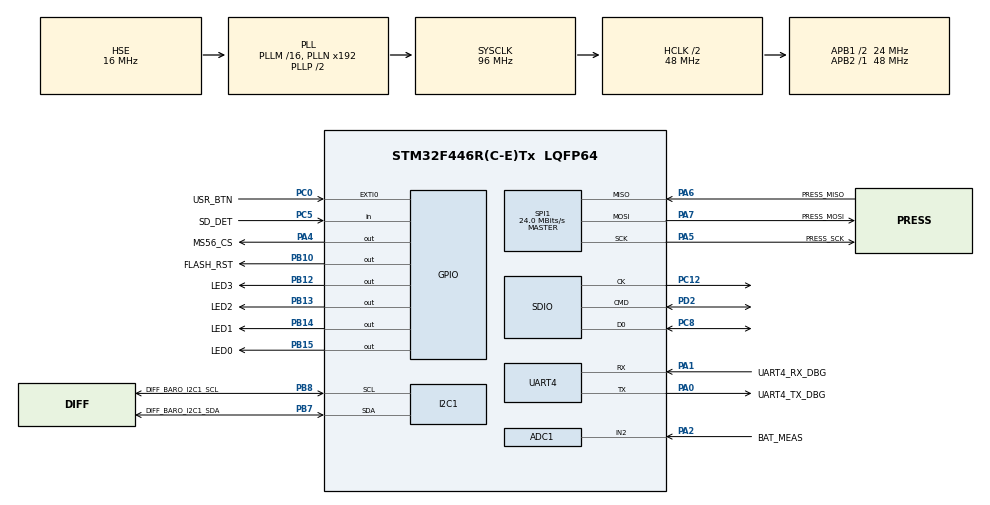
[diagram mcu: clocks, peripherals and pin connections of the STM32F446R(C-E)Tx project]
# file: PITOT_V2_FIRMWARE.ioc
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ADC1.Channel-0\#ChannelRegularConversion=ADC_CHANNEL_2
ADC1.ClockPrescaler=ADC_CLOCK_SYNC_PCLK_DIV4
ADC1.ContinuousConvMode=DISABLE
ADC1.DMAContinuousRequests=DISABLE
ADC1.NbrOfConversionFlag=1
ADC1.Rank-0\#ChannelRegularConversion=1
ADC1.Resolution=ADC_RESOLUTION_12B
ADC1.SamplingTime-0\#ChannelRegularConversion=ADC_SAMPLETIME_56CYCLES
ADC1.ScanConvMode=DISABLE
ADC1.master=1
FATFS.BSP.number=1
FATFS._USE_FIND=1
FATFS0.BSP.STBoard=false
FATFS0.BSP.api=Unknown
FATFS0.BSP.i2caddr=0
FATFS0.BSP.instance=PC5
FATFS0.BSP.ip=GPIO
FATFS0.BSP.mode=Input
FATFS0.BSP.name=Detect_SDIO
FATFS0.BSP.solution=PC5
Mcu.Family=STM32F4
Mcu.Name=STM32F446R(C-E)Tx
Mcu.Package=LQFP64
NVIC.PriorityGroup=NVIC_PRIORITYGROUP_4
NVIC.TIM2_IRQn=true\:5\:0\:true\:false\:true\:true\:true
NVIC.TIM8_UP_TIM13_IRQn=true\:5\:0\:true\:false\:true\:false\:true
NVIC.TimeBase=TIM8_UP_TIM13_IRQn
NVIC.TimeBaseIP=TIM13
NVIC.UART4_IRQn=true\:5\:0\:true\:false\:true\:true\:true
PA0-WKUP.GPIO_Label=UART4_TX_DBG
PA0-WKUP.Mode=Asynchronous
PA0-WKUP.Signal=UART4_TX
PA1.GPIO_Label=UART4_RX_DBG
PA1.Mode=Asynchronous
PA1.Signal=UART4_RX
PA13.Mode=Serial_Wire
PA13.Signal=SYS_JTMS-SWDIO
PA14.Mode=Serial_Wire
PA14.Signal=SYS_JTCK-SWCLK
PA2.GPIO_Label=BAT_MEAS
PA2.Signal=ADCx_IN2
PA4.GPIO_Label=MS56_CS
PA4.Signal=GPIO_Output
PA5.GPIO_Label=PRESS_SCK
PA5.Mode=Full_Duplex_Master
PA5.Signal=SPI1_SCK
PA6.GPIO_Label=PRESS_MISO
PA6.Mode=Full_Duplex_Master
PA6.Signal=SPI1_MISO
PA7.GPIO_Label=PRESS_MOSI
PA7.Mode=Full_Duplex_Master
PA7.Signal=SPI1_MOSI
PB10.GPIO_Label=FLASH_RST
PB10.Signal=GPIO_Output
PB12.GPIO_Label=LED3
PB12.Signal=GPIO_Output
PB13.GPIO_Label=LED2
PB13.Signal=GPIO_Output
PB14.GPIO_Label=LED1
PB14.Signal=GPIO_Output
PB15.GPIO_Label=LED0
PB15.Signal=GPIO_Output
PB7.GPIO_Label=DIFF_BARO_I2C1_SDA
PB7.Mode=I2C
PB7.Signal=I2C1_SDA
PB8.GPIO_Label=DIFF_BARO_I2C1_SCL
PB8.Mode=I2C
PB8.Signal=I2C1_SCL
PC0.GPIO_Label=USR_BTN
PC0.Signal=GPXTI0
PC12.Mode=SD_1_bit
PC12.Signal=SDIO_CK
PC14-OSC32_IN.Mode=LSE-External-Oscillator
PC14-OSC32_IN.Signal=RCC_OSC32_IN
PC15-OSC32_OUT.Mode=LSE-External-Oscillator
PC15-OSC32_OUT.Signal=RCC_OSC32_OUT
PC5.GPIO_Label=SD_DET
PC5.Signal=GPIO_Input
PC8.Mode=SD_1_bit
PC8.Signal=SDIO_D0
PD2.Mode=SD_1_bit
PD2.Signal=SDIO_CMD
PH0-OSC_IN.Mode=HSE-External-Oscillator
PH0-OSC_IN.Signal=RCC_OSC_IN
PH1-OSC_OUT.Mode=HSE-External-Oscillator
PH1-OSC_OUT.Signal=RCC_OSC_OUT
ProjectManager.HeapSize=0x200
ProjectManager.StackSize=0x400
ProjectManager.TargetToolchain=STM32CubeIDE
RCC.AHBCLKDivider=RCC_SYSCLK_DIV2
RCC.AHBFreq_Value=48000000
RCC.APB1CLKDivider=RCC_HCLK_DIV2
RCC.APB1Freq_Value=24000000
RCC.APB1TimFreq_Value=48000000
RCC.APB2Freq_Value=48000000
RCC.APB2TimFreq_Value=48000000
RCC.CortexFreq_Value=48000000
RCC.HCLKFreq_Value=48000000
RCC.HSE_VALUE=16000000
RCC.PLLQ=4
RCC.PLLSourceVirtual=RCC_PLLSOURCE_HSE
RCC.SYSCLKFreq_VALUE=96000000
RCC.SYSCLKSource=RCC_SYSCLKSOURCE_PLLCLK
RCC.USBFreq_Value=48000000
RCC.VCOOutputFreq_Value=192000000
SDIO.ClockDiv=4
SH.ADCx_IN2.0=ADC1_IN2,IN2
SPI1.BaudRatePrescaler=SPI_BAUDRATEPRESCALER_2
SPI1.CalculateBaudRate=24.0 MBits/s
SPI1.Direction=SPI_DIRECTION_2LINES
SPI1.Mode=SPI_MODE_MASTER
SPI1.VirtualType=VM_MASTER
TIM2.Period=2399
TIM2.Prescaler=999
UART4.VirtualMode=Asynchronous
VP_FATFS_VS_SDIO.Mode=SDIO
VP_SYS_VS_tim13.Mode=TIM13
VP_TIM2_VS_ClockSourceINT.Mode=Internal
board=custom

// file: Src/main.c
/* USER CODE BEGIN Header */
// LED0 - BAT_LOW
// LED1 - SD_ERROR
// LED2 - SD_WRITE
// LED3 - LOG_LOOP

/* USER CODE END Header */

#include "main.h"
#include "adc.h"
#include "fatfs.h"
#include "i2c.h"
#include "sdio.h"
#include "spi.h"
#include "tim.h"
#include "usart.h"
#include "gpio.h"

/* USER CODE BEGIN Includes */
#include "SS_MS5607.h"

#include "SD_card_func.h"
#include "PITOT_func.h"
#include <string.h>
#include <stdio.h>

#include "SS_common.h"
#include "SS_platform.h"
#include "SS_log.h"
#include "FreeRTOS.h"
#include "SS_init.h"
#include "SS_FreeRTOS.h"
#include "task.h"

/* USER CODE END Includes */

/* USER CODE BEGIN PD */
#define SD_CARD_WRITE_LED_ON  HAL_GPIO_WritePin(LED2_GPIO_Port, LED2_Pin,GPIO_PIN_SET)
#define SD_CARD_WRITE_LED_OFF  HAL_GPIO_WritePin(LED2_GPIO_Port, LED2_Pin,GPIO_PIN_RESET)

#define LOGS_BUFF_SIZE 20 // save to SD card once every second

/* USER CODE END PD */

/* USER CODE BEGIN PV */
extern char SD_current_file_path[50];

char Data_log_line_single [250];
uint16_t Data_log_line_length_single;

char Data_log_line [LOGS_BUFF_SIZE][250];
uint16_t Data_log_line_length [LOGS_BUFF_SIZE];
uint8_t Data_log_line_cnt=0;

FRESULT file_op_res;
UINT BytesWritten;

volatile uint8_t Log_trig_flag = 0;
/* USER CODE END PV */

void SystemClock_Config(void);
/* USER CODE BEGIN PFP */
void main_loop_task(void * pvParameters);
/* USER CODE END PFP */

int main(void)
{

  /* MCU Configuration--------------------------------------------------------*/

  /* Reset of all peripherals, Initializes the Flash interface and the Systick. */
  HAL_Init();

  /* Configure the system clock */
  SystemClock_Config();

  /* Initialize all configured peripherals */
  MX_GPIO_Init();
  MX_ADC1_Init();
  MX_I2C1_Init();
  MX_SDIO_SD_Init();
  MX_SPI1_Init();
  MX_UART4_Init();
  MX_FATFS_Init();
  MX_TIM2_Init();
  /* USER CODE BEGIN 2 */

  SS_platform_init();
  xTaskCreate(&main_loop_task, "Main loop", 2048, NULL, 20, NULL);
  //xTaskCreate(SS_console_task, "Console Task", 256, NULL, 3, (TaskHandle_t *) NULL);

  //xSemaphore = xSemaphoreCreate();

    HAL_Delay(100);

    SD_CARD_init ();
    f_mount(0,SDPath,1);

    HAL_TIM_Base_Start_IT(&htim2); // 50 ms for logs

    SS_MS56_init(&ms5607, MS56_PRESS_4096, MS56_TEMP_4096);
    SS_MS56_read_convert(&ms5607);
    SS_MS56_set_ref_press(&ms5607);

    SS_print("Scheduler started\r\n");
    vTaskStartScheduler();
  //SS_FreeRTOS_init();

  /* USER CODE END 2 */

  /* Infinite loop */
  while (1)
  {

  }
}

void SystemClock_Config(void)
{
  RCC_OscInitTypeDef RCC_OscInitStruct = {0};
  RCC_ClkInitTypeDef RCC_ClkInitStruct = {0};
  RCC_PeriphCLKInitTypeDef PeriphClkInitStruct = {0};

  /** Configure the main internal regulator output voltage
  */
  __HAL_RCC_PWR_CLK_ENABLE();
  __HAL_PWR_VOLTAGESCALING_CONFIG(PWR_REGULATOR_VOLTAGE_SCALE3);
  /** Initializes the CPU, AHB and APB busses clocks
  */
  RCC_OscInitStruct.OscillatorType = RCC_OSCILLATORTYPE_HSE;
  RCC_OscInitStruct.HSEState = RCC_HSE_ON;
  RCC_OscInitStruct.PLL.PLLState = RCC_PLL_ON;
  RCC_OscInitStruct.PLL.PLLSource = RCC_PLLSOURCE_HSE;
  RCC_OscInitStruct.PLL.PLLM = 16;
  RCC_OscInitStruct.PLL.PLLN = 192;
  RCC_OscInitStruct.PLL.PLLP = RCC_PLLP_DIV2;
  RCC_OscInitStruct.PLL.PLLQ = 4;
  RCC_OscInitStruct.PLL.PLLR = 2;
  if (HAL_RCC_OscConfig(&RCC_OscInitStruct) != HAL_OK)
  {
    Error_Handler();
  }
  /** Initializes the CPU, AHB and APB busses clocks
  */
  RCC_ClkInitStruct.ClockType = RCC_CLOCKTYPE_HCLK|RCC_CLOCKTYPE_SYSCLK
                              |RCC_CLOCKTYPE_PCLK1|RCC_CLOCKTYPE_PCLK2;
  RCC_ClkInitStruct.SYSCLKSource = RCC_SYSCLKSOURCE_PLLCLK;
  RCC_ClkInitStruct.AHBCLKDivider = RCC_SYSCLK_DIV2;
  RCC_ClkInitStruct.APB1CLKDivider = RCC_HCLK_DIV2;
  RCC_ClkInitStruct.APB2CLKDivider = RCC_HCLK_DIV1;

  if (HAL_RCC_ClockConfig(&RCC_ClkInitStruct, FLASH_LATENCY_1) != HAL_OK)
  {
    Error_Handler();
  }
  PeriphClkInitStruct.PeriphClockSelection = RCC_PERIPHCLK_SDIO|RCC_PERIPHCLK_CLK48;
  PeriphClkInitStruct.Clk48ClockSelection = RCC_CLK48CLKSOURCE_PLLQ;
  PeriphClkInitStruct.SdioClockSelection = RCC_SDIOCLKSOURCE_CLK48;
  if (HAL_RCCEx_PeriphCLKConfig(&PeriphClkInitStruct) != HAL_OK)
  {
    Error_Handler();
  }
}

/* USER CODE BEGIN 4 */

void main_loop_task(void * pvParameters)
{
    HAL_GPIO_TogglePin(LED3_GPIO_Port, LED3_Pin);
    vTaskDelay(500);
    while(1)
    {

        if(Log_trig_flag == 1)
        {
            HAL_GPIO_TogglePin(LED3_GPIO_Port, LED3_Pin);  // main loop led
            SS_MS56_read_convert(&ms5607);
            SS_MS56_get_altitude(&ms5607);
            ADC_save_result_2_buff();
            ADC_check_bat_voltage();  // Check if bat is lower than 3.2V
            PITOT_pull_I2C_data();

            Data_log_line_length_single = sprintf(Data_log_line_single, "%ld,%.2f,%ld,%ld,%ld,%f,%.2f\r\n", HAL_GetTick(), ADC_get_VBAT_mean(), ms5607.press, ms5607.altitude, ms5607.temp, PITOT_get_pressure_diff_psi(), PITOT_get_temp());
            HAL_UART_Transmit(&huart4, (uint8_t *) Data_log_line_single, Data_log_line_length_single, MAX_TIMEOUT);

            //------------->

            strcpy(&Data_log_line[Data_log_line_cnt][0], Data_log_line_single);
            Data_log_line_length[Data_log_line_cnt] = Data_log_line_length_single;

            Log_trig_flag = 0;

            if(Data_log_line_cnt >= LOGS_BUFF_SIZE - 1)
            {
                SD_CARD_WRITE_LED_ON;

                file_op_res = f_mount(&SDFatFS, SDPath, 1);
                SD_CARD_send_file_debug(file_op_res, MOUNT);

                file_op_res = f_open(&SDFile, SD_current_file_path, FA_WRITE | FA_OPEN_APPEND);
                SD_CARD_send_file_debug(file_op_res, OPEN);

                for(uint8_t line_num = 0; line_num <= LOGS_BUFF_SIZE - 1; line_num++)
                {
                    file_op_res = f_write(&SDFile, &Data_log_line[line_num][0], Data_log_line_length[line_num], &BytesWritten);
                    SD_CARD_send_file_debug(file_op_res, WRITE);
                }

                file_op_res = f_close(&SDFile);
                SD_CARD_send_file_debug(file_op_res, CLOSE);

                file_op_res = f_mount(0, SDPath, 1);
                SD_CARD_send_file_debug(file_op_res, UNMOUNT);

                UART_send_debug_string("\r\n");

                Data_log_line_cnt = 0;

                SD_CARD_WRITE_LED_OFF;
            }
            else
            {
                Data_log_line_cnt++;
            }
            //-------------<
        }
    }
}

/* USER CODE END 4 */

 /**
  * @brief  Period elapsed callback in non blocking mode
  * @note   This function is called  when TIM13 interrupt took place, inside
  * HAL_TIM_IRQHandler(). It makes a direct call to HAL_IncTick() to increment
  * a global variable "uwTick" used as application time base.
  * @param  htim : TIM handle
  * @retval None
  */
void HAL_TIM_PeriodElapsedCallback(TIM_HandleTypeDef *htim)
{
  /* USER CODE BEGIN Callback 0 */
  if(htim->Instance == TIM2) // 100 ms
  {
      Log_trig_flag = 1;
  }
  /* USER CODE END Callback 0 */
  if (htim->Instance == TIM13) {
    HAL_IncTick();
  }
  /* USER CODE BEGIN Callback 1 */
//    if (htim->Instance == TIM14) {
//        SS_FreeRTOS_25khz_timer_callback();
//    }
  /* USER CODE END Callback 1 */
}

void Error_Handler(void)
{
}

/************************ (C) COPYRIGHT STMicroelectronics *****END OF FILE****/
